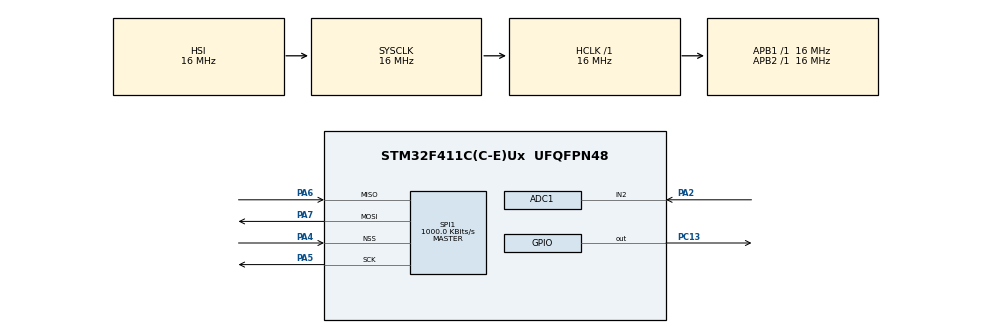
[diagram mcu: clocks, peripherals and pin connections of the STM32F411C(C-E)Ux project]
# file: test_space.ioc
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ADC1.Channel-1\#ChannelRegularConversion=ADC_CHANNEL_2
ADC1.ContinuousConvMode=ENABLE
ADC1.NbrOfConversionFlag=1
ADC1.Rank-1\#ChannelRegularConversion=1
ADC1.SamplingTime-1\#ChannelRegularConversion=ADC_SAMPLETIME_3CYCLES
ADC1.master=1
Mcu.Family=STM32F4
Mcu.Name=STM32F411C(C-E)Ux
Mcu.Package=UFQFPN48
NVIC.PriorityGroup=NVIC_PRIORITYGROUP_4
PA2.Signal=ADCx_IN2
PA4.Mode=NSS_Signal_Hard_Input
PA4.Signal=SPI1_NSS
PA5.Mode=Full_Duplex_Master
PA5.Signal=SPI1_SCK
PA6.Mode=Full_Duplex_Master
PA6.Signal=SPI1_MISO
PA7.Mode=Full_Duplex_Master
PA7.Signal=SPI1_MOSI
PC13-ANTI_TAMP.Signal=GPIO_Output
ProjectManager.HeapSize=0x200
ProjectManager.StackSize=0x400
ProjectManager.TargetToolchain=STM32CubeIDE
RCC.AHBFreq_Value=16000000
RCC.APB1Freq_Value=16000000
RCC.APB2Freq_Value=16000000
RCC.CortexFreq_Value=16000000
RCC.HSE_VALUE=25000000
RCC.HSI_VALUE=16000000
RCC.LSE_VALUE=32768
RCC.SYSCLKFreq_VALUE=16000000
RCC.VCOOutputFreq_Value=192000000
SH.ADCx_IN2.0=ADC1_IN2,IN2
SPI1.BaudRatePrescaler=SPI_BAUDRATEPRESCALER_16
SPI1.CalculateBaudRate=1000.0 KBits/s
SPI1.DataSize=SPI_DATASIZE_16BIT
SPI1.Direction=SPI_DIRECTION_2LINES
SPI1.Mode=SPI_MODE_MASTER
SPI1.VirtualNSS=VM_NSSHARD
SPI1.VirtualType=VM_MASTER
board=custom

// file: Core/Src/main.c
/* USER CODE BEGIN Header */
/**
  ******************************************************************************
  * @file           : main.c
  * @brief          : Main program body
  ******************************************************************************
  * @attention
  *
  * <h2><center>&copy; Copyright (c) 2022 STMicroelectronics.
  * All rights reserved.</center></h2>
  *
  * This software component is licensed by ST under BSD 3-Clause license,
  * the "License"; You may not use this file except in compliance with the
  * License. You may obtain a copy of the License at:
  *                        opensource.org/licenses/BSD-3-Clause
  *
  ******************************************************************************
  */
/* USER CODE END Header */
#include "main.h"
/*Max Length of an Buffer array
 * 16bit msg = 12 bit ADC + 4bit error/index
 * 4 bit => 3 bit for error/index , 1 bit parity ?
 * 3 bit => 7 samples in buffer
 * Each Sample has 2 8bit int so 7*2 = 14*/
#define MAX 14

ADC_HandleTypeDef hadc1;

SPI_HandleTypeDef hspi1;

void SystemClock_Config(void);
static void MX_GPIO_Init(void);
static void MX_ADC1_Init(void);
static void MX_SPI1_Init(void);
void enqueue3(uint8_t *, uint8_t *, uint8_t );

/* USER CODE BEGIN 0 */
uint32_t adcvalue;
uint8_t msg_arr[2] = {0};
uint8_t counter = 0;
/* USER CODE END 0 */

int main(void)
{

  /* MCU Configuration--------------------------------------------------------*/

  /* Reset of all peripherals, Initializes the Flash interface and the Systick. */
  HAL_Init();

  /* Configure the system clock */
  SystemClock_Config();

  /* Initialize all configured peripherals */
  MX_GPIO_Init();
  MX_ADC1_Init();
  MX_SPI1_Init();
  /* USER CODE BEGIN 2 */

  /* Turn off the LED */
  HAL_GPIO_WritePin(GPIOC, GPIO_PIN_13, 1);

  /* USER CODE END 2 */

  /* Infinite loop */
  /* USER CODE BEGIN WHILE */
  while (1)
  {

	  HAL_ADC_Start(&hadc1);
	  adcvalue = HAL_ADC_GetValue(&hadc1);

	  // Saving last 2 byte of 32bit ADC values into an array of 2 8bit int
	  for(int i = 0; i<2;i++){
		  msg_arr[i] = ((uint8_t*)&adcvalue)[i];

	  }

	  // bit [4:2] would be the counter
	  // 8'b0xxx_yyyy - x: Counter , y: MSB of 12 bit data
	  msg_arr[1] += (counter << 4);

	  HAL_SPI_Transmit(&hspi1, (uint8_t *)&msg_arr, 1, 0xFF);

	  // Reset Counter
	  if(counter > 6)
		  counter = 0;
	  else
		  counter++;

	  /* USER CODE BEGIN 3 */
	  //HAL_Delay(1/10);
	  HAL_ADC_Stop(&hadc1);

	  /* Turn off the LED */
	  HAL_GPIO_WritePin(GPIOC, GPIO_PIN_13, 1);
	  /* USER CODE END 3 */
  }
    /* USER CODE END WHILE */

    /* USER CODE BEGIN 3 */
	  HAL_Delay(1/10);
	  HAL_ADC_Stop(&hadc1);

	  /* Turn off the LED */
	  HAL_GPIO_WritePin(GPIOC, GPIO_PIN_13, 1);
  /* USER CODE END 3 */
}

void SystemClock_Config(void)
{
  RCC_OscInitTypeDef RCC_OscInitStruct = {0};
  RCC_ClkInitTypeDef RCC_ClkInitStruct = {0};

  /** Configure the main internal regulator output voltage
  */
  __HAL_RCC_PWR_CLK_ENABLE();
  __HAL_PWR_VOLTAGESCALING_CONFIG(PWR_REGULATOR_VOLTAGE_SCALE1);
  /** Initializes the RCC Oscillators according to the specified parameters
  * in the RCC_OscInitTypeDef structure.
  */
  RCC_OscInitStruct.OscillatorType = RCC_OSCILLATORTYPE_HSI;
  RCC_OscInitStruct.HSIState = RCC_HSI_ON;
  RCC_OscInitStruct.HSICalibrationValue = RCC_HSICALIBRATION_DEFAULT;
  RCC_OscInitStruct.PLL.PLLState = RCC_PLL_NONE;
  if (HAL_RCC_OscConfig(&RCC_OscInitStruct) != HAL_OK)
  {
    Error_Handler();
  }
  /** Initializes the CPU, AHB and APB buses clocks
  */
  RCC_ClkInitStruct.ClockType = RCC_CLOCKTYPE_HCLK|RCC_CLOCKTYPE_SYSCLK
                              |RCC_CLOCKTYPE_PCLK1|RCC_CLOCKTYPE_PCLK2;
  RCC_ClkInitStruct.SYSCLKSource = RCC_SYSCLKSOURCE_HSI;
  RCC_ClkInitStruct.AHBCLKDivider = RCC_SYSCLK_DIV1;
  RCC_ClkInitStruct.APB1CLKDivider = RCC_HCLK_DIV1;
  RCC_ClkInitStruct.APB2CLKDivider = RCC_HCLK_DIV1;

  if (HAL_RCC_ClockConfig(&RCC_ClkInitStruct, FLASH_LATENCY_0) != HAL_OK)
  {
    Error_Handler();
  }
}

static void MX_ADC1_Init(void)
{

  ADC_ChannelConfTypeDef sConfig = {0};

  /** Configure the global features of the ADC (Clock, Resolution, Data Alignment and number of conversion)
  */
  hadc1.Instance = ADC1;
  hadc1.Init.ClockPrescaler = ADC_CLOCK_SYNC_PCLK_DIV2;
  hadc1.Init.Resolution = ADC_RESOLUTION_12B;
  hadc1.Init.ScanConvMode = DISABLE;
  hadc1.Init.ContinuousConvMode = ENABLE;
  hadc1.Init.DiscontinuousConvMode = DISABLE;
  hadc1.Init.ExternalTrigConvEdge = ADC_EXTERNALTRIGCONVEDGE_NONE;
  hadc1.Init.ExternalTrigConv = ADC_SOFTWARE_START;
  hadc1.Init.DataAlign = ADC_DATAALIGN_RIGHT;
  hadc1.Init.NbrOfConversion = 1;
  hadc1.Init.DMAContinuousRequests = DISABLE;
  hadc1.Init.EOCSelection = ADC_EOC_SINGLE_CONV;
  if (HAL_ADC_Init(&hadc1) != HAL_OK)
  {
    Error_Handler();
  }
  /** Configure for the selected ADC regular channel its corresponding rank in the sequencer and its sample time.
  */
  sConfig.Channel = ADC_CHANNEL_2;
  sConfig.Rank = 1;
  sConfig.SamplingTime = ADC_SAMPLETIME_3CYCLES;
  if (HAL_ADC_ConfigChannel(&hadc1, &sConfig) != HAL_OK)
  {
    Error_Handler();
  }

}

static void MX_SPI1_Init(void)
{

  /* SPI1 parameter configuration*/
  hspi1.Instance = SPI1;
  hspi1.Init.Mode = SPI_MODE_MASTER;
  hspi1.Init.Direction = SPI_DIRECTION_2LINES;
  hspi1.Init.DataSize = SPI_DATASIZE_16BIT;
  hspi1.Init.CLKPolarity = SPI_POLARITY_LOW;
  hspi1.Init.CLKPhase = SPI_PHASE_1EDGE;
  hspi1.Init.NSS = SPI_NSS_HARD_INPUT;
  hspi1.Init.BaudRatePrescaler = SPI_BAUDRATEPRESCALER_16;
  hspi1.Init.FirstBit = SPI_FIRSTBIT_MSB;
  hspi1.Init.TIMode = SPI_TIMODE_DISABLE;
  hspi1.Init.CRCCalculation = SPI_CRCCALCULATION_DISABLE;
  hspi1.Init.CRCPolynomial = 10;
  if (HAL_SPI_Init(&hspi1) != HAL_OK)
  {
    Error_Handler();
  }

}

static void MX_GPIO_Init(void)
{
  GPIO_InitTypeDef GPIO_InitStruct = {0};

  /* GPIO Ports Clock Enable */
  __HAL_RCC_GPIOC_CLK_ENABLE();
  __HAL_RCC_GPIOA_CLK_ENABLE();

  /*Configure GPIO pin Output Level */
  HAL_GPIO_WritePin(GPIOC, GPIO_PIN_13, GPIO_PIN_RESET);

  /*Configure GPIO pin : PC13 */
  GPIO_InitStruct.Pin = GPIO_PIN_13;
  GPIO_InitStruct.Mode = GPIO_MODE_OUTPUT_PP;
  GPIO_InitStruct.Pull = GPIO_NOPULL;
  GPIO_InitStruct.Speed = GPIO_SPEED_FREQ_LOW;
  HAL_GPIO_Init(GPIOC, &GPIO_InitStruct);

}

/* USER CODE BEGIN 4 */
/**
 * @brief Similar to list.append in python except there is max size
 * @param	arr_ptr : &queue[0] (int queue[n] = {})
 *        	size	: &size ( int size = 0 )
 *        	value	: int
 */

void enqueue3(uint8_t *arr_ptr, uint8_t *size, uint8_t value ){
    arr_ptr += *size;
    for (int i = *size; i>= 0 ; --i){
        *arr_ptr = *(arr_ptr - 1);
        arr_ptr--;

    }

    arr_ptr++;

    *arr_ptr = value;
    if(*size<MAX-1)
        (*size)++;
}

/* USER CODE END 4 */

void Error_Handler(void)
{
  __disable_irq();
  while (1)
  {
  }
}

/************************ (C) COPYRIGHT STMicroelectronics *****END OF FILE****/
